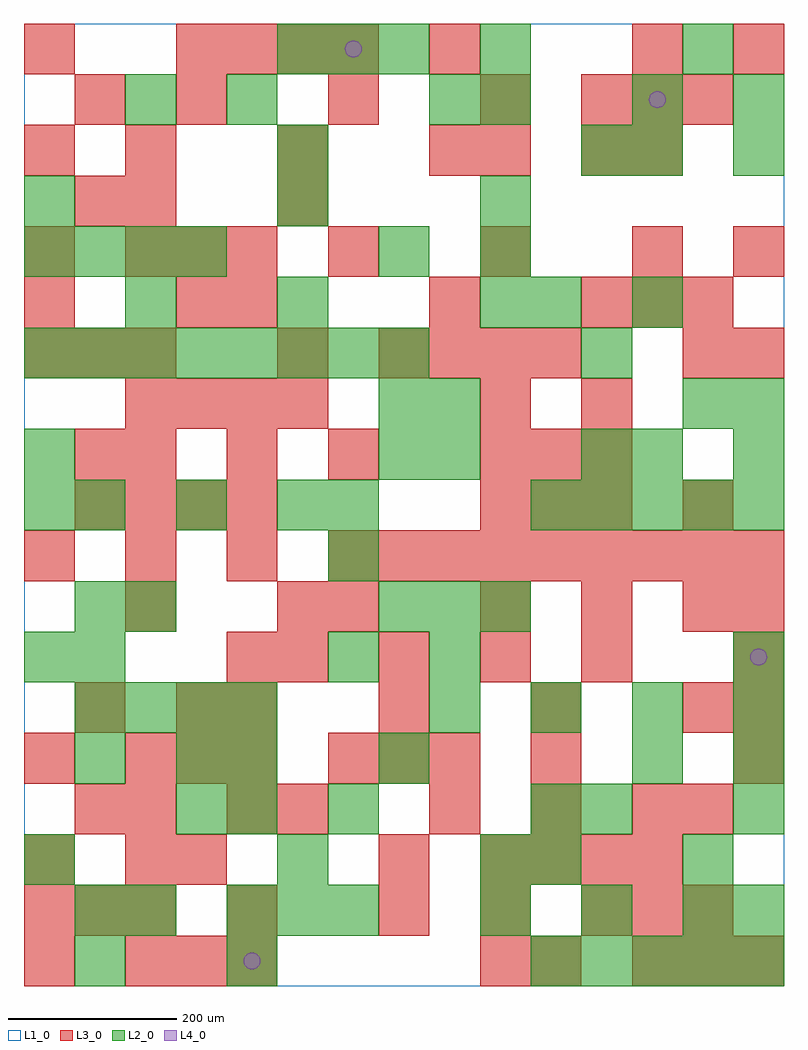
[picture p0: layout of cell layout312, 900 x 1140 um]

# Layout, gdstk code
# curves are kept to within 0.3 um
import gdstk
lib = gdstk.Library(unit=1e-6, precision=1e-09)
def R(c, l, rs):  # rectangles x0, y0, x1, y1
    for r in rs: c.add(gdstk.rectangle(r[:2], r[2:], *l))
def A(c, l, x, y, w, h, nx, ny, dx, dy):  # array of equal rectangles
    R(c, l, [(x+i*dx, y+j*dy, x+i*dx+w, y+j*dy+h) for i in range(nx) for j in range(ny)])
def P(c, l, *ps):  # polygons
    for p in ps: c.add(gdstk.Polygon(p, *l))
L1_0 = (1, 0)
L2_0 = (2, 0)
L3_0 = (3, 0)
L4_0 = (4, 0)

layout312 = lib.new_cell('layout312')
R(layout312, L1_0, [(0,0,900,1140)])
A(layout312, L2_0, 600, 0, 60, 60, 5, 2, 60, 540)
A(layout312, L2_0, 120, 60, 60, 60, 1, 3, 0, 360)
A(layout312, L2_0, 240, 60, 60, 60, 3, 1, 60, 0)
A(layout312, L2_0, 540, 60, 60, 60, 3, 1, 120, 0)
A(layout312, L2_0, 60, 300, 60, 60, 4, 1, 60, 0)
A(layout312, L2_0, 480, 300, 60, 60, 4, 1, 120, 0)
A(layout312, L2_0, 420, 420, 60, 60, 3, 1, 60, 0)
A(layout312, L2_0, 60, 540, 60, 60, 3, 1, 120, 0)
A(layout312, L2_0, 720, 600, 60, 60, 1, 3, 0, 180)
A(layout312, L2_0, 0, 720, 60, 60, 8, 1, 60, 0)
A(layout312, L2_0, 540, 780, 60, 60, 1, 3, 0, 60)
A(layout312, L2_0, 0, 840, 60, 60, 4, 1, 60, 0)
A(layout312, L2_0, 300, 1080, 60, 60, 3, 1, 60, 0)
R(layout312, L2_0, [(60,0,120,60), (240,0,300,60), (60,60,120,120), (840,60,900,120), (0,120,60,180), (300,120,360,180), (540,120,600,180), (600,120,660,180), (780,120,840,180), (180,180,240,240), (240,180,300,240), (360,180,420,240), (600,180,660,240), (660,180,720,240), (840,180,900,240), (60,240,120,300), (180,240,240,300), (240,240,300,300), (420,240,480,300), (720,240,780,300), (840,240,900,300), (0,360,60,420), (60,360,120,420), (360,360,420,420), (480,360,540,420), (840,360,900,420), (60,420,120,480), (360,480,420,540), (0,540,60,600), (360,540,420,600), (0,600,60,660), (420,600,480,660), (480,600,540,660), (660,600,720,660), (840,600,900,660), (420,660,480,720), (480,660,540,720), (780,660,840,720), (840,660,900,720), (660,720,720,780), (300,780,360,840), (600,780,660,840), (420,840,480,900), (0,900,60,960), (300,900,360,960), (300,960,360,1020), (660,960,720,1020), (840,960,900,1020), (120,1020,180,1080), (240,1020,300,1080), (480,1020,540,1080), (540,1020,600,1080), (720,1020,780,1080), (840,1020,900,1080), (540,1080,600,1140), (780,1080,840,1140)])
A(layout312, L3_0, 0, 0, 60, 60, 1, 3, 0, 120)
A(layout312, L3_0, 120, 0, 60, 60, 3, 2, 60, 240)
A(layout312, L3_0, 720, 0, 60, 60, 3, 1, 60, 0)
A(layout312, L3_0, 0, 60, 60, 60, 3, 2, 60, 660)
A(layout312, L3_0, 420, 60, 60, 60, 3, 1, 120, 0)
A(layout312, L3_0, 540, 120, 60, 60, 4, 1, 60, 0)
A(layout312, L3_0, 480, 180, 60, 60, 3, 1, 120, 0)
A(layout312, L3_0, 360, 240, 60, 60, 3, 1, 60, 0)
A(layout312, L3_0, 840, 240, 60, 60, 1, 4, 0, 60)
A(layout312, L3_0, 60, 300, 60, 60, 1, 3, 0, 300)
A(layout312, L3_0, 240, 300, 60, 60, 4, 1, 180, 0)
A(layout312, L3_0, 300, 360, 60, 60, 4, 1, 120, 0)
A(layout312, L3_0, 540, 420, 60, 60, 3, 1, 120, 0)
A(layout312, L3_0, 0, 480, 60, 60, 4, 1, 120, 0)
A(layout312, L3_0, 420, 480, 60, 60, 8, 1, 60, 0)
A(layout312, L3_0, 60, 540, 60, 60, 4, 1, 60, 0)
A(layout312, L3_0, 540, 540, 60, 60, 3, 2, 60, 60)
A(layout312, L3_0, 120, 600, 60, 60, 3, 1, 120, 0)
A(layout312, L3_0, 120, 660, 60, 60, 4, 1, 60, 0)
A(layout312, L3_0, 420, 720, 60, 60, 4, 1, 60, 0)
A(layout312, L3_0, 660, 780, 60, 60, 3, 2, 60, 240)
A(layout312, L3_0, 0, 840, 60, 60, 1, 3, 0, 120)
A(layout312, L3_0, 120, 840, 60, 60, 3, 1, 60, 0)
A(layout312, L3_0, 360, 840, 60, 60, 3, 1, 180, 0)
A(layout312, L3_0, 120, 960, 60, 60, 3, 1, 180, 0)
A(layout312, L3_0, 180, 1020, 60, 60, 3, 1, 180, 0)
A(layout312, L3_0, 180, 1080, 60, 60, 4, 1, 60, 0)
R(layout312, L3_0, [(540,0,600,60), (600,0,660,60), (240,60,300,120), (720,60,780,120), (780,60,840,120), (120,120,180,180), (180,120,240,180), (420,120,480,180), (60,180,120,240), (120,180,180,240), (240,180,300,240), (300,180,360,240), (780,180,840,240), (600,240,660,300), (180,300,240,360), (240,360,300,420), (120,420,180,480), (300,420,360,480), (360,420,420,480), (780,540,840,600), (540,660,600,720), (660,660,720,720), (300,720,360,780), (780,720,840,780), (840,720,900,780), (0,780,60,840), (180,780,240,840), (240,780,300,840), (480,780,540,840), (840,840,900,900), (120,900,180,960), (300,900,360,960), (540,960,600,1020), (660,960,720,1020), (720,960,780,1020), (60,1020,120,1080), (480,1080,540,1140), (720,1080,780,1140), (840,1080,900,1140)])
P(layout312, L4_0, [(280,30),(279.239,33.827),(277.071,37.071),(273.827,39.239),(270,40),(266.173,39.239),(262.929,37.071),(260.761,33.827),(260,30),(260.761,26.173),(262.929,22.929),(266.173,20.761),(270,20),(273.827,20.761),(277.071,22.929),(279.239,26.173)],
  [(400,1110),(399.239,1113.827),(397.071,1117.071),(393.827,1119.239),(390,1120),(386.173,1119.239),(382.929,1117.071),(380.761,1113.827),(380,1110),(380.761,1106.173),(382.929,1102.929),(386.173,1100.761),(390,1100),(393.827,1100.761),(397.071,1102.929),(399.239,1106.173)],
  [(760,1050),(759.239,1053.827),(757.071,1057.071),(753.827,1059.239),(750,1060),(746.173,1059.239),(742.929,1057.071),(740.761,1053.827),(740,1050),(740.761,1046.173),(742.929,1042.929),(746.173,1040.761),(750,1040),(753.827,1040.761),(757.071,1042.929),(759.239,1046.173)],
  [(880,390),(879.239,393.827),(877.071,397.071),(873.827,399.239),(870,400),(866.173,399.239),(862.929,397.071),(860.761,393.827),(860,390),(860.761,386.173),(862.929,382.929),(866.173,380.761),(870,380),(873.827,380.761),(877.071,382.929),(879.239,386.173)])

lib.write_gds('layout312.gds')
